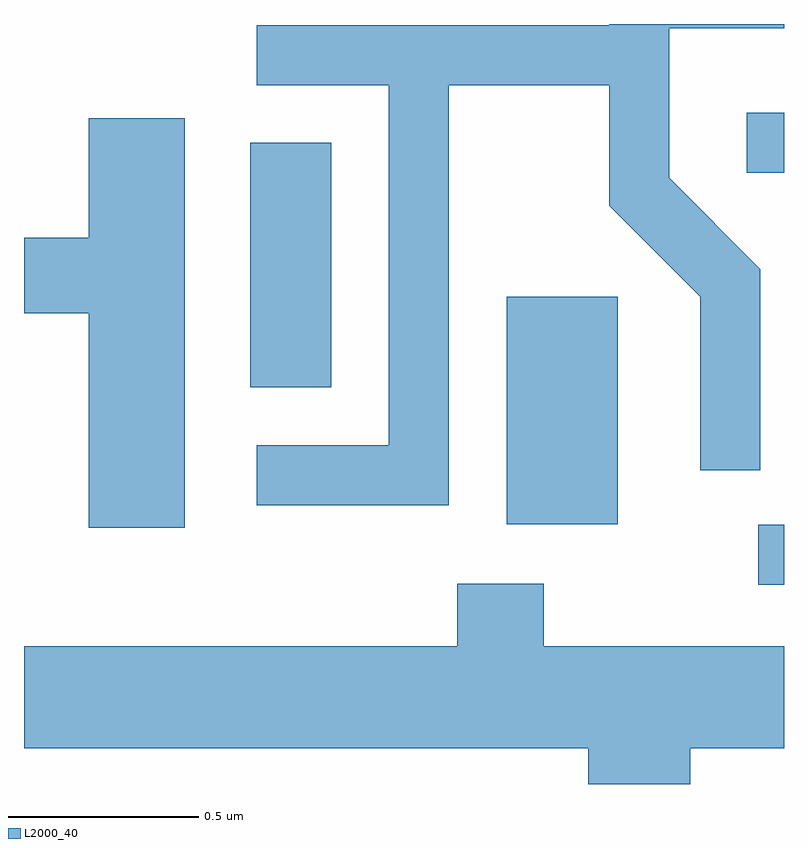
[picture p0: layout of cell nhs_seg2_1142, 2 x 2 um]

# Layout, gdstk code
import gdstk
lib = gdstk.Library(unit=1e-6, precision=1e-09)
def R(c, l, rs):  # rectangles x0, y0, x1, y1
    for r in rs: c.add(gdstk.rectangle(r[:2], r[2:], *l))
def P(c, l, *ps):  # polygons
    for p in ps: c.add(gdstk.Polygon(p, *l))
L2000_40 = (2000, 40)

nhs_seg2_1142 = lib.new_cell('nhs_seg2_1142')
R(nhs_seg2_1142, L2000_40, [(195.543,1024.326,195.611,1024.484), (194.881,1024.486,195.174,1025.084), (194.206,1024.846,194.419,1025.489), (195.513,1025.411,195.611,1025.569)])
P(nhs_seg2_1142, L2000_40, [(194.729,1025.641),(195.151,1025.641),(195.151,1025.324),(195.391,1025.084),(195.391,1024.628),(195.549,1024.628),(195.549,1025.157),(195.309,1025.397),(195.309,1025.791),(195.611,1025.791),(195.611,1025.802),(195.151,1025.802),(195.151,1025.799),(194.223,1025.799),(194.223,1025.641),(194.571,1025.641),(194.571,1024.694),(194.223,1024.694),(194.223,1024.536),(194.729,1024.536)],
  [(194.034,1025.554),(193.781,1025.554),(193.781,1025.239),(193.611,1025.239),(193.611,1025.041),(193.781,1025.041),(193.781,1024.476),(194.034,1024.476)],
  [(195.364,1023.896),(195.611,1023.896),(195.611,1024.164),(194.979,1024.164),(194.979,1024.329),(194.751,1024.329),(194.751,1024.164),(193.611,1024.164),(193.611,1023.896),(195.096,1023.896),(195.096,1023.802),(195.364,1023.802)])

lib.write_gds('nhs_seg2_1142.gds')
